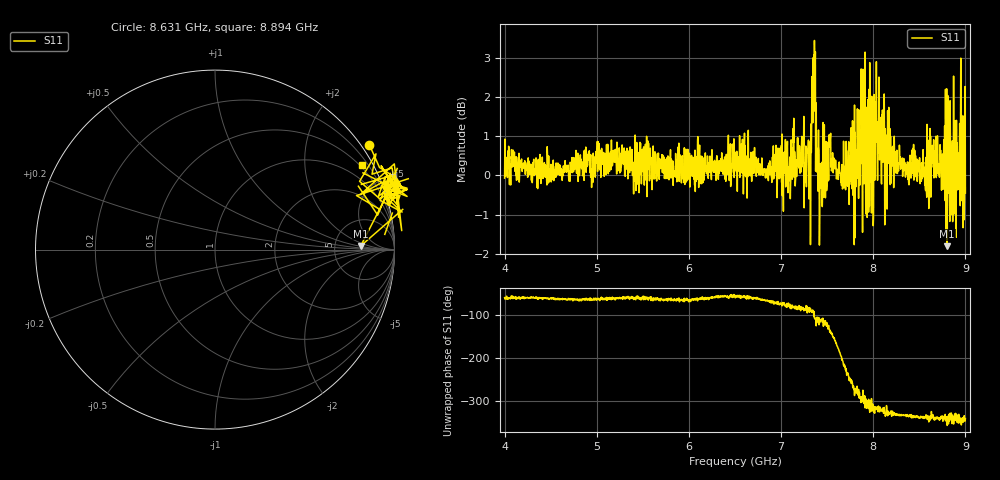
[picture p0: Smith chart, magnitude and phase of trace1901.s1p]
! Created with skrf 1.8.0 (http://scikit-rf.org).
# Hz S RI R 50.0
!freq ReS11 ImS11
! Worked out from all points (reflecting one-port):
!   1601 points, 4 GHz to 9 GHz, reference 50 ohm
!   lowest |S11| = -1.8 dB at 8.803 GHz (marker M1), VSWR 9.64, Z = 475 + j57.2 ohm
!   phase of S11 starts at -58 deg and turns -284 deg over the sweep
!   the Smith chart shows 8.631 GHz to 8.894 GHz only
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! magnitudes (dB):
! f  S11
! 4 GHz  -0.1
! 4.094 GHz  0.4
! 4.625 GHz  -0.1
! 5.25 GHz  0.1
! 5.875 GHz  0.3
! 6.5 GHz  0.3
! 6.828 GHz  0.0
! 7.097 GHz  0.5
! 7.125 GHz  0.6
! 7.297 GHz  0.9
! 7.356 GHz  3.1
! 7.388 GHz  0.5
! 7.4 GHz  -0.4
! 7.441 GHz  0.3
! 7.512 GHz  0.7
! 7.675 GHz  -0.3
! 7.75 GHz  -0.1
! 7.806 GHz  0.7
! 7.888 GHz  2.7
! 7.981 GHz  -1.0
! 8.05 GHz  1.4
! 8.066 GHz  0.9
! 8.209 GHz  0.4
! 8.375 GHz  0.2
! 8.803 GHz  -1.8
! 8.919 GHz  -0.2
! 8.972 GHz  -0.1
! 9 GHz  -0.4
